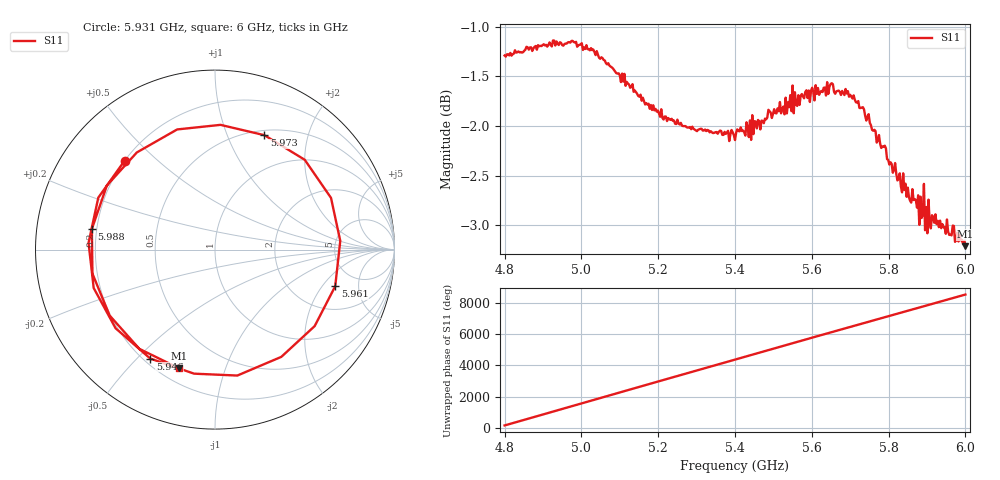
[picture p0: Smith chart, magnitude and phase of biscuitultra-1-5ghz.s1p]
! NanoVNA-App
! Date: 2026-05-15 11:40:24
! Start: 4.8GHz Stop: 6GHz Points: 401
! S-Parameter data: F S11
# Hz S RI R 50
!  Frequency  S11_Real  S11_Imag
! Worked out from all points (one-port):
!   401 points, 4.8 GHz to 6 GHz, reference 50 ohm
!   lowest |S11| = -3.2 dB at 6 GHz (marker M1), VSWR 5.47, Z = 13.9 - j35.2 ohm
!   |S11| at or under -10 dB: nowhere
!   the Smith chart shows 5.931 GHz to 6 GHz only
!   S11 on the Smith chart (normalised r, x): 5.931 GHz: 0.20, +0.39; 5.946 GHz: 0.23, -0.55; 5.961 GHz: 3.38, -2.71; 5.973 GHz: 0.56, +1.37; 5.988 GHz: 0.18, +0.08; 6 GHz: 0.28, -0.70
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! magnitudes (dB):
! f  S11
! 4.8 GHz  -1.3
! 4.95 GHz  -1.2
! 4.98 GHz  -1.2
! 5.028 GHz  -1.2
! 5.1 GHz  -1.5
! 5.172 GHz  -1.8
! 5.25 GHz  -1.9
! 5.4 GHz  -2.1
! 5.472 GHz  -1.9
! 5.487 GHz  -1.8
! 5.541 GHz  -1.8
! 5.55 GHz  -1.6
! 5.559 GHz  -1.8
! 5.58 GHz  -1.7
! 5.646 GHz  -1.6
! 5.7 GHz  -1.7
! 5.742 GHz  -1.9
! 5.829 GHz  -2.5
! 5.85 GHz  -2.6
! 5.883 GHz  -2.7
! 5.898 GHz  -2.8
! 5.901 GHz  -3.1
! 5.931 GHz  -3.0
! 5.946 GHz  -3.0
! 5.961 GHz  -3.1
! 5.973 GHz  -3.2
! 5.988 GHz  -3.2
! 6 GHz  -3.2
